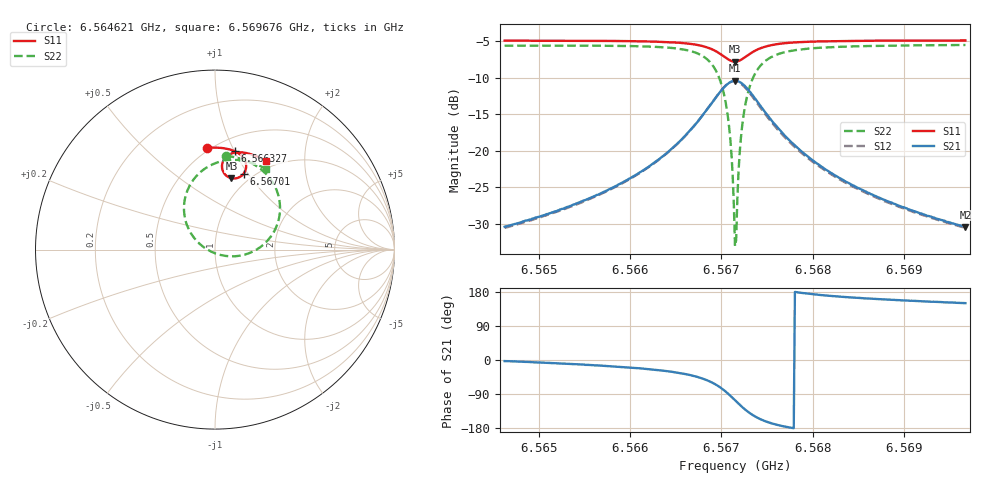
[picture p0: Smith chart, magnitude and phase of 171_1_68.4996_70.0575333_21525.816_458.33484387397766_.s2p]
#  HZ  S  RI  R  50.00
! Rohde & Schwarz Vector Network Analyzer
! Rohde-Schwarz,ZNB20-2Port,1311601062101988,3.16
! Created: UTC 3/20/2024, 5:11:20 PM
! freq[Hz]  re:S11  im:S11  re:S21  im:S21  re:S12  im:S12  re:S22  im:S22
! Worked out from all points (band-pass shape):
!   401 points, 6.564621 GHz to 6.569676 GHz, reference 50 ohm
!   highest |S21| = -10.40 dB at 6.567149 GHz (marker M1); lowest = -30.5 dB at 6.569676 GHz (marker M2)
!   |S21| within 3 dB of the highest: 6.566897 GHz to 6.567402 GHz (505.1 kHz wide, 0.00769 % of centre)
!   lowest |S11| = -7.8 dB at 6.567149 GHz (marker M3), VSWR 2.38, Z = 42.4 + j40.4 ohm
!   |S11| at or under -10 dB: nowhere
!   |S22| runs from -33.1 to -5.5 dB; largest |S21 - S12| = 0.015
!   S11 on the Smith chart (normalised r, x): 6.564621 GHz: 0.48, +0.81; 6.566327 GHz: 0.63, +1.01; 6.56701 GHz: 0.90, +0.95; 6.569676 GHz: 0.90, +1.31
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6.5646212e9  -0.0426 0.5675  0.0301 -0.00148  0.0295 -0.00194  0.0586 0.5228
6.5654679e9  0.028 0.567  0.044 -0.0093  0.0431 -0.00987  0.1417 0.5065
6.5663147e9  0.11 0.5482  0.078 -0.0396  0.077 -0.0405  0.262 0.4429
6.5663273e9  0.1115 0.5476  0.0789 -0.0407  0.0778 -0.0414  0.2645 0.4409
6.5666053e9  0.1452 0.5261  0.1014 -0.0769  0.0997 -0.0784  0.3244 0.3695
6.5668075e9  0.169 0.491  0.1147 -0.138  0.112 -0.1408  0.3617 0.2516
6.5669213e9  0.173 0.4564  0.1033 -0.1989  0.098 -0.2028  0.345 0.1356
6.5670097e9  0.1592 0.4226  0.0622 -0.2566  0.0531 -0.26  0.2698 0.0278
6.5670477e9  0.1458 0.4093  0.031 -0.2782  0.02 -0.2801  0.2116 -0.0105
6.5670856e9  0.1276 0.4  -0.00848 -0.2925  -0.0212 -0.2919  0.139 -0.0339
6.5671108e9  0.1137 0.3967  -0.0381 -0.2959  -0.0514 -0.2932  0.085 -0.0374
6.5671361e9  0.0988 0.3967  -0.0688 -0.2936  -0.0822 -0.2884  0.0303 -0.0297
6.5671488e9  0.0914 0.3978  -0.0839 -0.29  -0.097 -0.2836  0.00372 -0.0219
6.567174e9  0.0772 0.4027  -0.1128 -0.2785  -0.1247 -0.27  -0.046 0.00216
6.5671993e9  0.0648 0.4104  -0.1386 -0.2621  -0.1487 -0.2517  -0.0886 0.0349
6.5672372e9  0.0505 0.4259  -0.1682 -0.2306  -0.1755 -0.2185  -0.136 0.0943
6.5672878e9  0.0405 0.4494  -0.1909 -0.1841  -0.1942 -0.1716  -0.168 0.179
6.567351e9  0.0401 0.4768  -0.1971 -0.1308  -0.1967 -0.1198  -0.1695 0.2725
6.5675785e9  0.0782 0.5288  -0.1509 -0.0289  -0.1474 -0.0242  -0.0664 0.4438
6.5679955e9  0.1415 0.5423  -0.086 0.00938  -0.0838 0.0108  0.0763 0.4986
6.5688423e9  0.2233 0.5234  -0.0416 0.0159  -0.0407 0.0162  0.2079 0.4826
6.5696764e9  0.2863 0.4938  -0.026 0.015  -0.0255 0.0151  0.2846 0.4488
